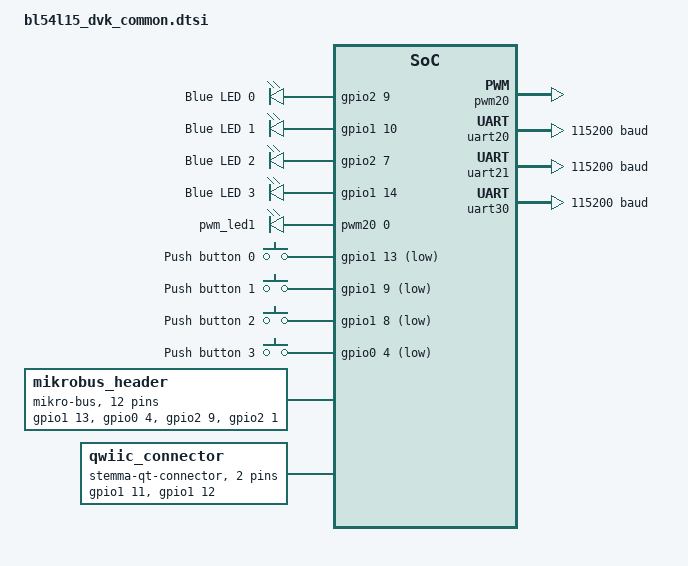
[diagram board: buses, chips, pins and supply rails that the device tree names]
/*
 * Copyright (c) 2024 Nordic Semiconductor ASA
 * Copyright (c) 2025 Ezurio LLC
 *
 * SPDX-License-Identifier: Apache-2.0
 */

#include <zephyr/dt-bindings/gpio/mikro-bus.h>
#include "bl54l15_dvk_nrf54l_10_15-pinctrl.dtsi"

/ {
	leds {
		compatible = "gpio-leds";

		led0: led_0 {
			gpios = <&gpio2 9 GPIO_ACTIVE_HIGH>;
			label = "Blue LED 0";
		};

		led1: led_1 {
			gpios = <&gpio1 10 GPIO_ACTIVE_HIGH>;
			label = "Blue LED 1";
		};

		led2: led_2 {
			gpios = <&gpio2 7 GPIO_ACTIVE_HIGH>;
			label = "Blue LED 2";
		};

		led3: led_3 {
			gpios = <&gpio1 14 GPIO_ACTIVE_HIGH>;
			label = "Blue LED 3";
		};
	};

	pwmleds {
		compatible = "pwm-leds";

		/*
		 * PWM signal can be exposed on GPIO pin only within same domain.
		 * There is only one domain which contains both PWM and GPIO:
		 * PWM20/21/22 and GPIO Port P1.
		 * Only LEDs connected to P1 can work with PWM, for example LED1.
		 */
		pwm_led1: pwm_led_1 {
			pwms = <&pwm20 0 PWM_MSEC(20) PWM_POLARITY_NORMAL>;
		};
	};

	buttons {
		compatible = "gpio-keys";

		button0: button_0 {
			gpios = <&gpio1 13 (GPIO_PULL_UP | GPIO_ACTIVE_LOW)>;
			label = "Push button 0";
			zephyr,code = <INPUT_KEY_0>;
		};

		button1: button_1 {
			gpios = <&gpio1 9 (GPIO_PULL_UP | GPIO_ACTIVE_LOW)>;
			label = "Push button 1";
			zephyr,code = <INPUT_KEY_1>;
		};

		button2: button_2 {
			gpios = <&gpio1 8 (GPIO_PULL_UP | GPIO_ACTIVE_LOW)>;
			label = "Push button 2";
			zephyr,code = <INPUT_KEY_2>;
		};

		button3: button_3 {
			gpios = <&gpio0 4 (GPIO_PULL_UP | GPIO_ACTIVE_LOW)>;
			label = "Push button 3";
			zephyr,code = <INPUT_KEY_3>;
		};
	};

	aliases {
		led0 = &led0;
		led1 = &led1;
		led2 = &led2;
		led3 = &led3;
		pwm-led0 = &pwm_led1;
		sw0 = &button0;
		sw1 = &button1;
		sw2 = &button2;
		sw3 = &button3;
		watchdog0 = &wdt31;
		mcuboot-button0 = &button3;
		mcuboot-led0 = &led2;
	};

	mikrobus_header: mikrobus-connector {
		compatible = "mikro-bus";
		#gpio-cells = <2>;
		gpio-map-mask = <0xffffffff 0xffffffc0>;
		gpio-map-pass-thru = <0 0x3f>;
		gpio-map =
			   /* Shared functions listed in () */
			   <MIKROBUS_AN 0 &gpio1 13 0>,	/* (button 0, ain6) */
			   <MIKROBUS_RST 0 &gpio0 4 0>,	/* (button 3) */
			   <MIKROBUS_CS 0 &gpio2 9 0>,	/* (led 0) */
			   <MIKROBUS_SCK 0 &gpio2 1 0>,
			   <MIKROBUS_MISO 0 &gpio2 4 0>,
			   <MIKROBUS_MOSI 0 &gpio2 2 0>,
			   <MIKROBUS_PWM 0 &gpio1 14 0>,	/* (led 3) */
			   <MIKROBUS_INT 0 &gpio1 10 0>,	/* (led 1) */
			   <MIKROBUS_RX 0 &gpio1 8 0>,	/* (button 2) */
			   <MIKROBUS_TX 0 &gpio1 9 0>,	/* (button 1) */
			   <MIKROBUS_SCL 0 &gpio1 11 0>,
			   <MIKROBUS_SDA 0 &gpio1 12 0>;
	};

	qwiic_connector: qwiic-connector {
		compatible = "stemma-qt-connector";
		#gpio-cells = <2>;
		gpio-map-mask = <0xffffffff 0xffffffc0>;
		gpio-map-pass-thru = <0 0x3f>;
		gpio-map = <0 0 &gpio1 11 0>,	/* 4 - SCL */
			   <1 0 &gpio1 12 0>;	/* 3 - SDA */
	};
};

&i2c22 {
	pinctrl-0 = <&i2c22_default>;
	pinctrl-1 = <&i2c22_sleep>;
	pinctrl-names = "default", "sleep";
};

&pwm20 {
	status = "okay";
	pinctrl-0 = <&pwm20_default>;
	pinctrl-1 = <&pwm20_sleep>;
	pinctrl-names = "default", "sleep";
};

&uart20 {
	current-speed = <115200>;
	pinctrl-0 = <&uart20_default>;
	pinctrl-1 = <&uart20_sleep>;
	pinctrl-names = "default", "sleep";
};

&uart21 {
	current-speed = <115200>;
	pinctrl-0 = <&uart21_default>;
	pinctrl-1 = <&uart21_sleep>;
	pinctrl-names = "default", "sleep";
};

&uart30 {
	current-speed = <115200>;
	pinctrl-0 = <&uart30_default>;
	pinctrl-1 = <&uart30_sleep>;
	pinctrl-names = "default", "sleep";
};

/* Get a node label for wi-fi spi to use in shield files */
wifi_spi: &spi22 {};
